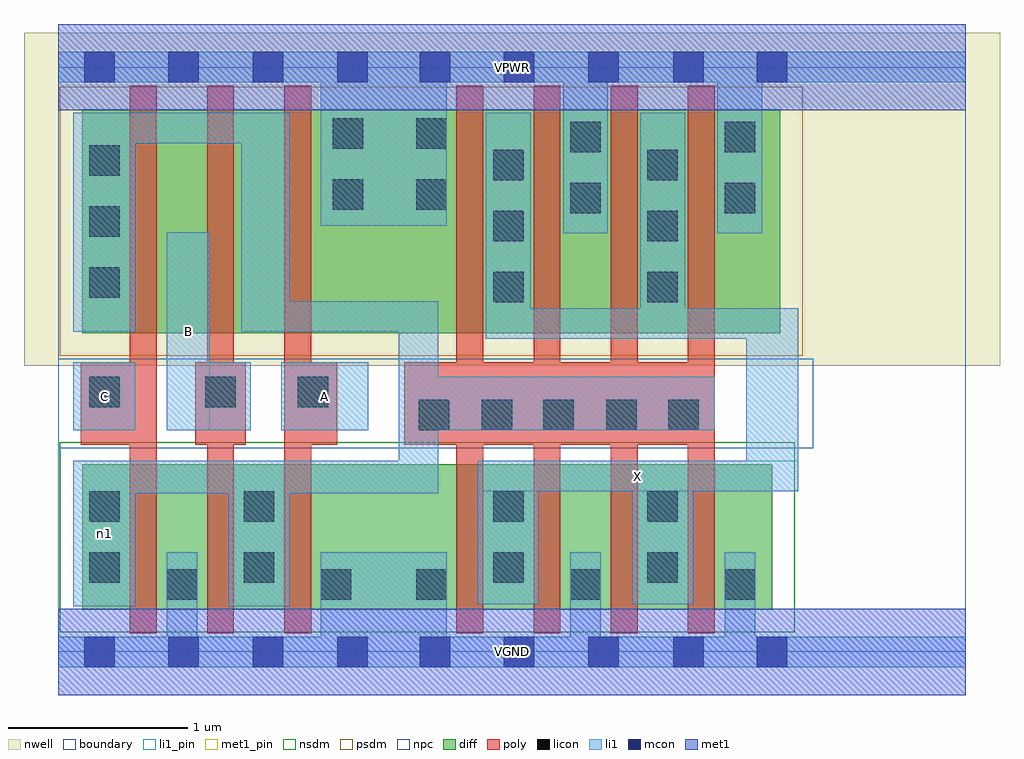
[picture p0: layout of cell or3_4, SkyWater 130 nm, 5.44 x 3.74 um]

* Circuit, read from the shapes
.subckt or3_4 A B C VGND VPWR X n1
XM1 VGND C n1 VSUBS sky130_fd_pr__nfet_01v8 w=0.81 l=0.15
XM2 n1 B VGND VSUBS sky130_fd_pr__nfet_01v8 w=0.81 l=0.15
XM3 VGND A n1 VSUBS sky130_fd_pr__nfet_01v8 w=0.81 l=0.15
XM4 X n1 VGND VSUBS sky130_fd_pr__nfet_01v8 w=0.81 l=0.15 m=4
XM5 n2 C n1 n3 sky130_fd_pr__pfet_01v8 w=1.25 l=0.15
XM6 n4 B n2 n3 sky130_fd_pr__pfet_01v8 w=1.25 l=0.15
XM7 VPWR A n4 n3 sky130_fd_pr__pfet_01v8 w=1.25 l=0.15
XM8 X n1 VPWR n3 sky130_fd_pr__pfet_01v8 w=1.25 l=0.15 m=4
.ends

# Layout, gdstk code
import gdstk
lib = gdstk.Library(unit=1e-6, precision=1e-09)
def R(c, l, rs):  # rectangles x0, y0, x1, y1
    for r in rs: c.add(gdstk.rectangle(r[:2], r[2:], *l))
def A(c, l, x, y, w, h, nx, ny, dx, dy):  # array of equal rectangles
    R(c, l, [(x+i*dx, y+j*dy, x+i*dx+w, y+j*dy+h) for i in range(nx) for j in range(ny)])
nwell = (64, 20)
diff = (65, 20)
poly = (66, 20)
licon = (66, 44)
li1_pin = (67, 16)
li1 = (67, 20)
mcon = (67, 44)
met1_pin = (68, 16)
met1 = (68, 20)
nsdm = (93, 44)
psdm = (94, 20)
npc = (95, 20)
boundary = (235, 4)

or3_4 = lib.new_cell('or3_4')
R(or3_4, nwell, [(-0.19,1.595,5.25,3.45), (0,1.595,5.06,3.45)])
R(or3_4, diff, [(0.135,0.235,3.98,1.045), (0.135,1.775,4.025,3.025)])
A(or3_4, poly, 0.4, 0.105, 0.15, 3.05, 3, 1, 0.43, 0)
A(or3_4, poly, 2.22, 0.105, 0.15, 3.05, 4, 1, 0.43, 0)
R(or3_4, poly, [(0.125,1.155,0.55,1.615), (0.765,1.155,1.045,1.615), (1.26,1.155,1.555,1.615), (1.93,1.155,3.66,1.615)])
A(or3_4, licon, 1.995, 0.29, 0.17, 0.17, 3, 1, 0.86, 0)
A(or3_4, licon, 2.425, 1.95, 0.17, 0.17, 1, 3, 0, 0.34)
A(or3_4, licon, 3.285, 1.95, 0.17, 0.17, 1, 3, 0, 0.34)
A(or3_4, licon, 0.175, 1.975, 0.17, 0.17, 1, 3, 0, 0.34)
R(or3_4, licon, [(0.605,0.29,0.775,0.46), (1.465,0.29,1.635,0.46), (0.175,0.385,0.345,0.555), (1.035,0.385,1.205,0.555), (2.425,0.385,2.595,0.555), (3.285,0.385,3.455,0.555), (0.175,0.725,0.345,0.895), (1.035,0.725,1.205,0.895), (2.425,0.725,2.595,0.895), (3.285,0.725,3.455,0.895), (2.01,1.235,2.18,1.405), (2.36,1.235,2.53,1.405), (2.705,1.235,2.875,1.405), (3.055,1.235,3.225,1.405), (3.4,1.235,3.57,1.405), (0.175,1.365,0.345,1.535), (0.82,1.365,0.99,1.535), (1.335,1.365,1.505,1.535), (2.855,2.445,3.025,2.615), (3.715,2.445,3.885,2.615), (1.53,2.465,1.7,2.635), (1.995,2.465,2.165,2.635), (2.855,2.785,3.025,2.955), (3.715,2.785,3.885,2.955), (1.53,2.805,1.7,2.975), (1.995,2.805,2.165,2.975)])
R(or3_4, li1_pin, [(2.34,0.895,4.125,1.065), (0.085,1.235,0.43,1.615), (0.605,1.235,0.845,2.34), (1.245,1.235,1.73,1.615)])
R(or3_4, li1, [(0,-0.085,5.06,0.085), (0.605,-0.085,0.775,0.555), (1.465,-0.085,2.165,0.555), (2.855,-0.085,3.025,0.555), (3.715,-0.085,3.885,0.555), (0.085,0.255,0.43,1.065), (0.95,0.255,1.29,1.065), (2.34,0.265,2.68,1.065), (3.2,0.265,3.54,1.065), (0.085,0.885,2.12,1.065), (1.9,0.885,2.12,1.955), (2.34,0.895,4.125,1.065), (3.835,0.895,4.125,1.915), (0.085,1.235,0.43,1.615), (0.605,1.235,0.845,2.34), (0.605,1.235,1.075,1.615), (1.245,1.235,1.73,1.615), (1.9,1.235,3.66,1.535), (2.385,1.745,4.125,1.915), (2.385,1.745,2.635,3.005), (3.245,1.745,3.495,3.005), (0.085,1.785,0.43,3.005), (1.02,1.785,1.29,3.005), (1.02,1.785,2.12,1.955), (2.815,2.335,3.065,3.345), (3.675,2.335,3.925,3.345), (1.465,2.375,2.165,3.345), (0.085,2.835,1.29,3.005), (0,3.175,5.06,3.345)])
A(or3_4, mcon, 0.145, -0.085, 0.17, 0.17, 4, 2, 0.47, 3.26)
A(or3_4, mcon, 2.015, -0.085, 0.17, 0.17, 3, 2, 0.47, 3.26)
R(or3_4, mcon, [(3.43,-0.085,3.6,0.085), (3.895,-0.085,4.065,0.085), (3.43,3.175,3.6,3.345), (3.895,3.175,4.065,3.345)])
R(or3_4, met1_pin, [(0,-0.24,5.06,0.24), (0,3.02,5.06,3.5)])
R(or3_4, met1, [(0,-0.24,5.06,0.24), (0,3.02,5.06,3.5)])
R(or3_4, nsdm, [(0.01,0.11,4.105,1.17)])
R(or3_4, psdm, [(0.01,1.65,4.15,3.15)])
R(or3_4, npc, [(0,1.135,4.21,1.635)])
R(or3_4, boundary, [(0,0,5.06,3.26)])
or3_4.add(gdstk.Label('A', (1.487,1.425), layer=67, texttype=5))
or3_4.add(gdstk.Label('B', (0.725,1.787), layer=67, texttype=5))
or3_4.add(gdstk.Label('C', (0.257,1.425), layer=67, texttype=5))
or3_4.add(gdstk.Label('X', (3.232,0.98), layer=67, texttype=5))
or3_4.add(gdstk.Label('n1', (0.257,0.66), layer=67, texttype=5))
or3_4.add(gdstk.Label('VPWR', (2.53,3.26), layer=68, texttype=5))
or3_4.add(gdstk.Label('VGND', (2.53,0), layer=68, texttype=5))
or3_4.add(gdstk.Label('A', (1.487,1.425), layer=67, texttype=16))
or3_4.add(gdstk.Label('B', (0.725,1.787), layer=67, texttype=16))
or3_4.add(gdstk.Label('C', (0.257,1.425), layer=67, texttype=16))
or3_4.add(gdstk.Label('X', (3.232,0.98), layer=67, texttype=16))
or3_4.add(gdstk.Label('VPWR', (2.53,3.26), layer=68, texttype=16))
or3_4.add(gdstk.Label('VGND', (2.53,0), layer=68, texttype=16))

lib.write_gds('or3_4.gds')
